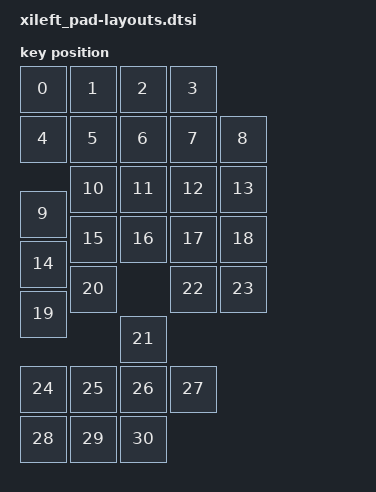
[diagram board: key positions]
/*
 * Copyright (c) 2026 Xiphelier
 * SPDX-License-Identifier: MIT
 *
 * ZMK Studio 用の物理レイアウト定義。
 * 座標は QMK 版 keyboard.json の LAYOUT からそのまま移植（単位は 1u = 100）。
 */

#include <physical_layouts.dtsi>

/ {
    physical_layout0: physical_layout_0 {
        compatible = "zmk,physical-layout";
        display-name = "Default";

        keys  //                             w    h     x     y  rot   rx   ry
            // row 0
            = <&key_physical_attrs 100 100    0    0    0    0    0>
            , <&key_physical_attrs 100 100  100    0    0    0    0>
            , <&key_physical_attrs 100 100  200    0    0    0    0>
            , <&key_physical_attrs 100 100  300    0    0    0    0>
            // row 1
            , <&key_physical_attrs 100 100    0  100    0    0    0>
            , <&key_physical_attrs 100 100  100  100    0    0    0>
            , <&key_physical_attrs 100 100  200  100    0    0    0>
            , <&key_physical_attrs 100 100  300  100    0    0    0>
            , <&key_physical_attrs 100 100  400  100    0    0    0>
            // row 2
            , <&key_physical_attrs 100 100    0  250    0    0    0>
            , <&key_physical_attrs 100 100  100  200    0    0    0>
            , <&key_physical_attrs 100 100  200  200    0    0    0>
            , <&key_physical_attrs 100 100  300  200    0    0    0>
            , <&key_physical_attrs 100 100  400  200    0    0    0>
            // row 3
            , <&key_physical_attrs 100 100    0  350    0    0    0>
            , <&key_physical_attrs 100 100  100  300    0    0    0>
            , <&key_physical_attrs 100 100  200  300    0    0    0>
            , <&key_physical_attrs 100 100  300  300    0    0    0>
            , <&key_physical_attrs 100 100  400  300    0    0    0>
            // row 4
            , <&key_physical_attrs 100 100    0  450    0    0    0>
            , <&key_physical_attrs 100 100  100  400    0    0    0>
            , <&key_physical_attrs 100 100  200  500    0    0    0>
            , <&key_physical_attrs 100 100  300  400    0    0    0>
            , <&key_physical_attrs 100 100  400  400    0    0    0>
            // encoder switches
            , <&key_physical_attrs 100 100    0  600    0    0    0>
            , <&key_physical_attrs 100 100  100  600    0    0    0>
            , <&key_physical_attrs 100 100  200  600    0    0    0>
            , <&key_physical_attrs 100 100  300  600    0    0    0>
            // levers
            , <&key_physical_attrs 100 100    0  700    0    0    0>
            , <&key_physical_attrs 100 100  100  700    0    0    0>
            , <&key_physical_attrs 100 100  200  700    0    0    0>
            ;
    };
};
